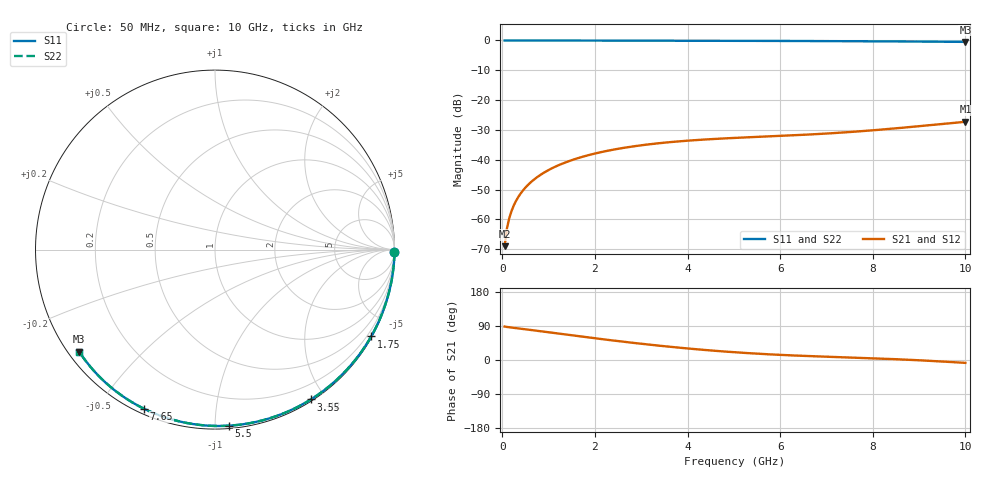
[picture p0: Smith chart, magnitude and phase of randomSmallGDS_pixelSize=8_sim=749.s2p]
! freq	dB(S11)	phase(S11)	dB(S12)	phase(S12)
!  dB(S21)	phase(S21)	dB(S22)	phase(S22)
!S-par simulation data
#  GHz  S  DB  R 50
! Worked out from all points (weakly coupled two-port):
!   200 points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, 50 MHz to 10 GHz, reference 50 ohm
!   highest |S21| = -27.27 dB at 10 GHz (marker M1); lowest = -69.0 dB at 50 MHz (marker M2)
!   lowest |S11| = -0.5 dB at 10 GHz (marker M3), VSWR 36.53, Z = 1.52 - j16.7 ohm
!   |S11| at or under -10 dB: nowhere
!   |S22| runs from -0.5 to 0.0 dB; largest |S21 - S12| = 0
!   S11 on the Smith chart (normalised r, x): 50 MHz: open; 1.75 GHz: 0.03, -3.86; 3.55 GHz: 0.02, -1.83; 5.5 GHz: 0.02, -1.08; 7.65 GHz: 0.02, -0.65; 10 GHz: 0.03, -0.33
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0.05  -0.00 -0.8  -68.99 88.4  -68.99 88.4  -0.00 -0.8
0.1  -0.00 -1.7  -63.06 87.2  -63.06 87.2  -0.00 -1.7
0.15  -0.00 -2.5  -59.61 86.3  -59.61 86.3  -0.00 -2.5
0.2  -0.00 -3.4  -57.16 85.5  -57.16 85.5  -0.00 -3.4
0.25  -0.00 -4.2  -55.26 84.8  -55.26 84.8  -0.00 -4.2
0.35  -0.00 -5.9  -52.38 83.3  -52.38 83.3  -0.00 -5.9
0.5  -0.01 -8.4  -49.33 81.0  -49.33 81.0  -0.01 -8.4
0.7  -0.01 -11.8  -46.46 77.9  -46.46 77.9  -0.01 -11.8
1  -0.02 -16.8  -43.45 73.1  -43.45 73.1  -0.02 -16.8
1.35  -0.03 -22.5  -40.98 67.5  -40.98 67.5  -0.03 -22.5
1.75  -0.04 -29.1  -38.93 61.2  -38.93 61.2  -0.04 -29.1
2.5  -0.05 -41.1  -36.33 49.9  -36.33 49.9  -0.05 -41.1
3.4  -0.07 -55.1  -34.44 37.6  -34.44 37.6  -0.07 -55.1
3.55  -0.08 -57.4  -34.20 35.8  -34.20 35.8  -0.08 -57.4
4.3  -0.10 -68.5  -33.29 27.2  -33.29 27.2  -0.10 -68.6
5.05  -0.12 -79.3  -32.66 20.2  -32.66 20.2  -0.12 -79.3
5.5  -0.14 -85.6  -32.34 16.7  -32.34 16.7  -0.14 -85.6
6.7  -0.20 -101.7  -31.49 10.0  -31.49 10.0  -0.20 -101.7
7.65  -0.26 -113.9  -30.55 6.0  -30.55 6.0  -0.26 -114.0
8.35  -0.31 -122.7  -29.67 2.9  -29.67 2.9  -0.31 -122.7
9.2  -0.39 -133.2  -28.46 -2.0  -28.46 -2.0  -0.39 -133.2
10  -0.48 -143.0  -27.27 -7.6  -27.27 -7.6  -0.48 -143.0
